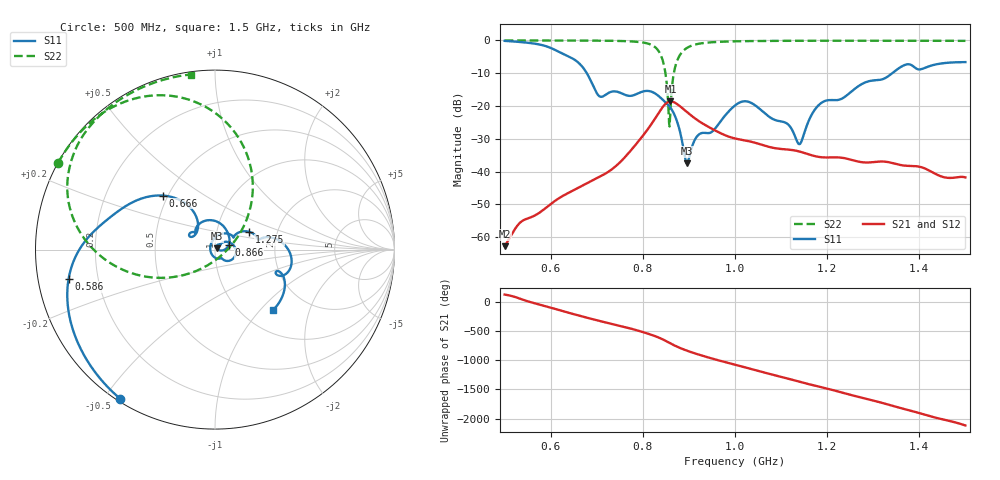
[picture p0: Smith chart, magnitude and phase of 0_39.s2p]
! TOUCHSTONE file generated by CST MICROWAVE STUDIO
! Date and time: Sat Oct 24 11:17:23 2020
! Project name: Scenario_1_Circular_Tissue_in_Line.cst
! Parameters = {L_HA=400; MT=2.54; Rad_Dielectric=30; Rad_Lower=7.3; Rad_Upper=30; a_HA=580; a_WG=246; b_HA=500; b_WG=121; c_HA=0; c_WG=187; d_feed=85; dx1=831.16; h_feed=15; h_lower=18; h_upper=40}
! Header version: 2018
! Port assignment regex: !\s*Touchstone port\s*([0-9]+)\s*=\s*(CST MWS port|CST DS port)\s*([0-9]+|Zmin|Zmax)\s*\(\"(.*)\"\)(\s*mode\s*([0-9]+))?.*
! Touchstone port assignment:
! Touchstone port 1 = CST MWS port 1 ("")
! Touchstone port 2 = CST MWS port 2 ("")
# GHz S DB R 50
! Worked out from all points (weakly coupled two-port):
!   1003 points, 500 MHz to 1.5 GHz, reference 50 ohm
!   highest |S21| = -18.61 dB at 860 MHz (marker M1); lowest = -62.7 dB at 500 MHz (marker M2)
!   lowest |S11| = -37.5 dB at 896 MHz (marker M3), VSWR 1.03, Z = 51.1 + j0.716 ohm
!   |S11| at or under -10 dB: 678.4 MHz to 1.341 GHz (662.7 MHz wide, 65.6 % of centre)
!   |S22| runs from -26.2 to 0.0 dB; largest |S21 - S12| = 3.2e-05
!   S11 on the Smith chart (normalised r, x): 500 MHz: 0.01, -0.55; 586 MHz: 0.09, -0.10; 666 MHz: 0.47, +0.34; 866 MHz: 1.16, +0.06; 1.275 GHz: 1.44, +0.30; 1.5 GHz: 1.36, -1.18
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0.5  -0.13 -122.4  -62.74 119.0  -62.74 119.0  -0.01 151.1
0.586  -1.60 -168.7  -51.46 -73.5  -51.46 -73.5  -0.02 145.2
0.666  -7.59 133.8  -44.48 110.1  -44.48 110.1  -0.04 138.4
0.667  -7.75 132.9  -44.40 108.0  -44.40 108.0  -0.04 138.3
0.707  -17.12 138.1  -41.52 26.0  -41.52 26.0  -0.07 134.0
0.789  -16.18 134.4  -31.01 -135.8  -31.01 -135.8  -0.44 117.4
0.834  -16.93 73.3  -22.18 105.8  -22.18 105.8  -3.19 83.1
0.848  -18.71 51.7  -19.49 54.4  -19.49 54.4  -9.11 53.9
0.855  -19.69 39.9  -18.77 25.4  -18.77 25.4  -19.10 20.7
0.86  -20.54 30.5  -18.61 4.5  -18.61 4.5  -20.54 -114.1
0.866  -21.92 18.4  -18.77 -19.9  -18.77 -19.9  -11.04 -146.9
0.876  -25.47 -0.5  -19.57 -57.1  -19.57 -57.1  -5.65 -167.3
0.896  -37.49 31.6  -21.86 -120.3  -21.86 -120.3  -2.26 171.4
0.919  -29.02 54.3  -24.36 179.2  -24.36 179.2  -1.08 158.6
1  -19.84 17.1  -29.90 1.4  -29.90 1.4  -0.27 140.3
1.111  -25.18 -66.0  -33.24 132.1  -33.24 132.1  -0.12 128.8
1.139  -31.62 -167.1  -33.84 72.5  -33.84 72.5  -0.11 126.4
1.167  -22.49 82.6  -35.05 15.4  -35.05 15.3  -0.10 124.2
1.275  -13.33 27.2  -37.12 158.7  -37.12 158.7  -0.08 115.9
1.334  -10.76 13.7  -37.14 35.2  -37.14 35.2  -0.09 111.5
1.372  -7.32 -7.4  -38.23 -44.8  -38.23 -44.8  -0.09 108.5
1.5  -6.61 -46.5  -41.77 43.4  -41.77 43.4  -0.13 97.9
